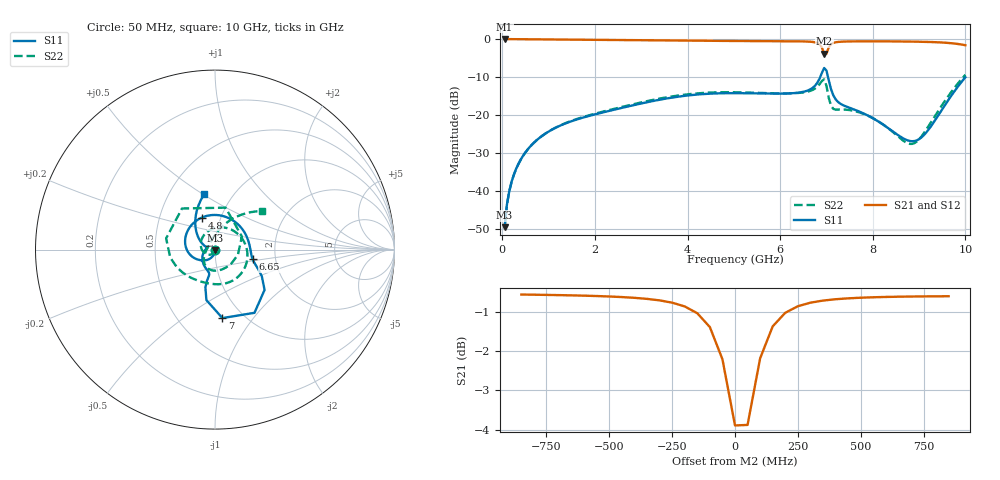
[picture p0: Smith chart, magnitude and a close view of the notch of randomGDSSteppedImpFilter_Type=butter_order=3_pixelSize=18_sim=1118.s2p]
! freq	dB(S11)	phase(S11)	dB(S12)	phase(S12)
!  dB(S21)	phase(S21)	dB(S22)	phase(S22)
!S-par simulation data
#  GHz  S  DB  R 50
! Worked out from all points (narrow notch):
!   200 points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, 50 MHz to 10 GHz, reference 50 ohm
!   highest |S21| = -0.01 dB at 50 MHz (marker M1); lowest = -3.9 dB at 6.95 GHz (marker M2)
!   notch at M2: 3.4 dB deep, 150 MHz wide at half that depth
!   lowest |S11| = -49.7 dB at 50 MHz (marker M3), VSWR 1.01, Z = 50 - j0.326 ohm
!   |S11| at or under -10 dB: start of sweep to 6.866 GHz; 7.033 GHz to end of sweep
!   |S22| runs from -49.8 to -9.4 dB; largest |S21 - S12| = 0
!   S11 on the Smith chart (normalised r, x): 50 MHz: 1.00, -0.01; 4.8 GHz: 0.81, +0.30; 6.65 GHz: 1.52, -0.17; 7 GHz: 0.80, -0.72; 10 GHz: 0.74, +0.50
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0.05  -49.73 -86.2  -0.01 -2.5  -0.01 -2.5  -49.77 -88.2
0.2  -37.69 -95.0  -0.02 -10.0  -0.02 -10.0  -37.75 -102.7
0.5  -29.89 -105.3  -0.04 -24.9  -0.04 -24.9  -29.93 -124.7
1.15  -23.41 -124.7  -0.09 -57.1  -0.09 -57.1  -23.38 -171.8
1.75  -20.70 -139.3  -0.14 -86.9  -0.14 -86.9  -20.56 142.8
2.5  -18.40 -155.3  -0.21 -124.3  -0.21 -124.3  -18.16 84.5
3.4  -16.00 179.1  -0.33 -169.5  -0.33 -169.5  -15.70 20.5
4.05  -14.83 152.4  -0.41 157.6  -0.41 157.6  -14.52 -17.8
4.8  -14.29 112.2  -0.49 119.2  -0.49 119.2  -14.03 -53.6
5.05  -14.28 96.6  -0.50 106.2  -0.50 106.2  -14.04 -63.6
5.85  -14.42 40.9  -0.54 63.8  -0.54 63.8  -14.32 -91.6
6.65  -13.28 -14.4  -0.70 17.4  -0.70 17.4  -13.67 -131.9
6.7  -12.90 -17.4  -0.76 13.9  -0.76 13.9  -13.43 -137.8
6.85  -10.47 -29.5  -1.38 1.1  -1.38 1.1  -11.93 -169.9
6.95  -7.63 -58.0  -3.89 -2.6  -3.89 -2.6  -10.64 128.7
7  -8.32 -83.8  -3.88 11.8  -3.88 11.8  -12.36 75.9
7.15  -14.90 -104.4  -1.02 3.0  -1.02 3.0  -18.44 -39.9
7.4  -17.68 -105.6  -0.65 -15.5  -0.65 -15.5  -18.61 -93.4
8.35  -23.66 -165.8  -0.61 -73.6  -0.61 -73.6  -23.70 -153.0
8.95  -26.74 165.7  -0.69 -111.9  -0.69 -111.9  -27.05 130.3
9.55  -17.58 139.3  -0.95 -154.5  -0.95 -154.5  -16.46 69.2
10  -10.08 101.2  -1.63 168.9  -1.63 168.9  -9.43 39.4
